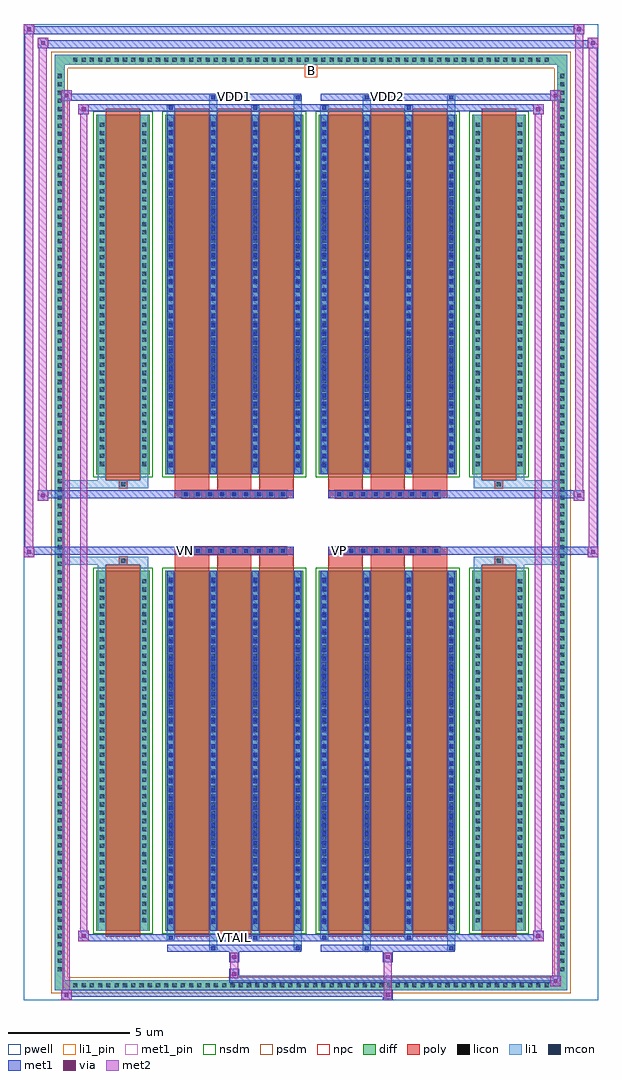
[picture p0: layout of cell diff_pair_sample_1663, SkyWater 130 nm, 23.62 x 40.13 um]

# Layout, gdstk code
import gdstk
lib = gdstk.Library(unit=1e-6, precision=5e-09)
def R(c, l, rs):  # rectangles x0, y0, x1, y1
    for r in rs: c.add(gdstk.rectangle(r[:2], r[2:], *l))
def A(c, l, x, y, w, h, nx, ny, dx, dy):  # array of equal rectangles
    R(c, l, [(x+i*dx, y+j*dy, x+i*dx+w, y+j*dy+h) for i in range(nx) for j in range(ny)])
def P(c, l, *ps):  # polygons
    for p in ps: c.add(gdstk.Polygon(p, *l))
pwell = (64, 44)
diff = (65, 20)
poly = (66, 20)
licon = (66, 44)
li1_pin = (67, 16)
li1 = (67, 20)
mcon = (67, 44)
met1_pin = (68, 16)
met1 = (68, 20)
via = (68, 44)
met2 = (69, 20)
nsdm = (93, 44)
psdm = (94, 20)
npc = (95, 20)

diff_pair_sample_1663 = lib.new_cell('diff_pair_sample_1663')
R(diff_pair_sample_1663, pwell, [(-11.81,-19.63,11.81,20.5), (-9.13,-17.82,-0.01,-0.8), (0.01,-17.82,9.13,-0.8), (-9.13,0.8,-0.01,17.82), (0.01,0.8,9.13,17.82)])
A(diff_pair_sample_1663, diff, -9.895, -19.23, 0.41, 0.41, 58, 2, 0.34, 38.05)
A(diff_pair_sample_1663, diff, -10.54, -18.565, 0.41, 0.41, 1, 109, 0, 0.34)
A(diff_pair_sample_1663, diff, 10.13, -18.565, 0.41, 0.41, 1, 109, 0, 0.34)
R(diff_pair_sample_1663, diff, [(-9.895,-19.23,9.895,-18.82), (-10.54,-18.565,-10.13,18.565), (10.13,-18.565,10.54,18.565), (-8.82,-16.775,-6.63,-1.985), (-5.99,-16.775,-0.32,-1.985), (0.32,-16.775,5.99,-1.985), (6.63,-16.775,8.82,-1.985), (-8.82,1.985,-6.63,16.775), (-5.99,1.985,-0.32,16.775), (0.32,1.985,5.99,16.775), (6.63,1.985,8.82,16.775), (-9.895,18.82,9.895,19.23)])
P(diff_pair_sample_1663, diff, [(10.54,19.23),(-10.54,19.23),(-10.54,-18.82),(-10.13,-18.82),(-10.13,18.82),(10.13,18.82),(10.13,-18.82),(-10.13,-18.82),(-10.54,-18.82),(-10.54,-19.23),(10.54,-19.23)])
A(diff_pair_sample_1663, poly, -5.6, -17.025, 1.41, 15.29, 3, 2, 1.74, 18.76)
A(diff_pair_sample_1663, poly, 0.71, -17.025, 1.41, 15.29, 3, 2, 1.74, 18.76)
A(diff_pair_sample_1663, poly, -5.6, -1.735, 1.41, 0.405, 3, 2, 1.74, 3.065)
A(diff_pair_sample_1663, poly, 0.71, -1.735, 1.41, 0.405, 3, 2, 1.74, 3.065)
A(diff_pair_sample_1663, poly, -5.32, -1.33, 0.33, 0.33, 9, 2, 0.5, 2.33)
A(diff_pair_sample_1663, poly, 0.99, -1.33, 0.33, 0.33, 9, 2, 0.5, 2.33)
R(diff_pair_sample_1663, poly, [(-8.43,-17.025,-7.02,-1.735), (7.02,-17.025,8.43,-1.735), (-7.89,-1.735,-7.56,-1.405), (-7.89,-1.735,-7.56,-1.405), (7.56,-1.735,7.89,-1.405), (7.56,-1.735,7.89,-1.405), (-5.6,-1.33,-0.71,-1), (0.71,-1.33,5.6,-1), (-5.6,1,-0.71,1.33), (0.71,1,5.6,1.33), (-7.89,1.405,-7.56,1.735), (-7.89,1.405,-7.56,1.735), (7.56,1.405,7.89,1.735), (7.56,1.405,7.89,1.735), (-8.43,1.735,-7.02,17.025), (7.02,1.735,8.43,17.025)])
A(diff_pair_sample_1663, licon, -9.775, -19.11, 0.17, 0.17, 58, 2, 0.34, 38.05)
A(diff_pair_sample_1663, licon, -10.42, -18.445, 0.17, 0.17, 1, 109, 0, 0.34)
A(diff_pair_sample_1663, licon, 10.25, -18.445, 0.17, 0.17, 1, 109, 0, 0.34)
A(diff_pair_sample_1663, licon, -8.68, -16.435, 0.17, 0.17, 1, 42, 0, 0.34)
A(diff_pair_sample_1663, licon, -6.94, -16.435, 0.17, 0.17, 1, 42, 0, 0.34)
A(diff_pair_sample_1663, licon, -5.85, -16.435, 0.17, 0.17, 4, 42, 1.74, 0.34)
A(diff_pair_sample_1663, licon, 0.46, -16.435, 0.17, 0.17, 4, 42, 1.74, 0.34)
A(diff_pair_sample_1663, licon, 6.77, -16.435, 0.17, 0.17, 1, 42, 0, 0.34)
A(diff_pair_sample_1663, licon, 8.51, -16.435, 0.17, 0.17, 1, 42, 0, 0.34)
A(diff_pair_sample_1663, licon, -5.24, -1.25, 0.17, 0.17, 9, 2, 0.5, 2.33)
A(diff_pair_sample_1663, licon, 1.07, -1.25, 0.17, 0.17, 9, 2, 0.5, 2.33)
A(diff_pair_sample_1663, licon, -8.68, 2.325, 0.17, 0.17, 1, 42, 0, 0.34)
A(diff_pair_sample_1663, licon, -6.94, 2.325, 0.17, 0.17, 1, 42, 0, 0.34)
A(diff_pair_sample_1663, licon, -5.85, 2.325, 0.17, 0.17, 4, 42, 1.74, 0.34)
A(diff_pair_sample_1663, licon, 0.46, 2.325, 0.17, 0.17, 4, 42, 1.74, 0.34)
A(diff_pair_sample_1663, licon, 6.77, 2.325, 0.17, 0.17, 1, 42, 0, 0.34)
A(diff_pair_sample_1663, licon, 8.51, 2.325, 0.17, 0.17, 1, 42, 0, 0.34)
R(diff_pair_sample_1663, licon, [(-7.81,-1.655,-7.64,-1.485), (7.64,-1.655,7.81,-1.485), (-7.81,1.485,-7.64,1.655), (7.64,1.485,7.81,1.655)])
R(diff_pair_sample_1663, li1_pin, [(-0.25,18.32,0.25,18.82)])
A(diff_pair_sample_1663, li1, -9.855, -19.19, 0.33, 0.33, 58, 2, 0.34, 38.05)
A(diff_pair_sample_1663, li1, -10.5, -18.525, 0.33, 0.33, 1, 109, 0, 0.34)
A(diff_pair_sample_1663, li1, 10.17, -18.525, 0.33, 0.33, 1, 109, 0, 0.34)
A(diff_pair_sample_1663, li1, -5.93, -16.775, 0.33, 14.79, 4, 2, 1.74, 18.76)
A(diff_pair_sample_1663, li1, 0.38, -16.775, 0.33, 14.79, 4, 2, 1.74, 18.76)
A(diff_pair_sample_1663, li1, -8.76, -16.515, 0.33, 0.33, 1, 42, 0, 0.34)
A(diff_pair_sample_1663, li1, -7.02, -16.515, 0.33, 0.33, 1, 42, 0, 0.34)
A(diff_pair_sample_1663, li1, -5.93, -16.515, 0.33, 0.33, 4, 42, 1.74, 0.34)
A(diff_pair_sample_1663, li1, 0.38, -16.515, 0.33, 0.33, 4, 42, 1.74, 0.34)
A(diff_pair_sample_1663, li1, 6.69, -16.515, 0.33, 0.33, 1, 42, 0, 0.34)
A(diff_pair_sample_1663, li1, 8.43, -16.515, 0.33, 0.33, 1, 42, 0, 0.34)
A(diff_pair_sample_1663, li1, -5.85, -16.485, 0.17, 0.17, 4, 40, 1.74, 0.36)
A(diff_pair_sample_1663, li1, -5.85, -16.485, 0.17, 14.21, 4, 2, 1.74, 18.76)
A(diff_pair_sample_1663, li1, 0.46, -16.485, 0.17, 0.17, 4, 40, 1.74, 0.36)
A(diff_pair_sample_1663, li1, 0.46, -16.485, 0.17, 14.21, 4, 2, 1.74, 18.76)
A(diff_pair_sample_1663, li1, -5.32, -1.33, 0.33, 0.33, 9, 2, 0.5, 2.33)
A(diff_pair_sample_1663, li1, 0.99, -1.33, 0.33, 0.33, 9, 2, 0.5, 2.33)
A(diff_pair_sample_1663, li1, -8.76, 2.245, 0.33, 0.33, 1, 42, 0, 0.34)
A(diff_pair_sample_1663, li1, -7.02, 2.245, 0.33, 0.33, 1, 42, 0, 0.34)
A(diff_pair_sample_1663, li1, -5.93, 2.245, 0.33, 0.33, 4, 42, 1.74, 0.34)
A(diff_pair_sample_1663, li1, 0.38, 2.245, 0.33, 0.33, 4, 42, 1.74, 0.34)
A(diff_pair_sample_1663, li1, 6.69, 2.245, 0.33, 0.33, 1, 42, 0, 0.34)
A(diff_pair_sample_1663, li1, 8.43, 2.245, 0.33, 0.33, 1, 42, 0, 0.34)
A(diff_pair_sample_1663, li1, -5.85, 2.275, 0.17, 0.17, 4, 40, 1.74, 0.36)
A(diff_pair_sample_1663, li1, 0.46, 2.275, 0.17, 0.17, 4, 40, 1.74, 0.36)
R(diff_pair_sample_1663, li1, [(-10.54,-19.23,-10.13,-18.82), (-10.54,-19.23,-10.13,-18.82), (-10.13,-19.23,10.13,-18.82), (10.13,-19.23,10.54,-18.82), (10.13,-19.23,10.54,-18.82), (-10.54,-18.82,-10.13,18.82), (10.13,-18.82,10.54,18.82), (-4.19,-17.58,-3.86,-16.775), (-4.11,-17.58,-3.94,-17.41), (-0.71,-17.58,-0.38,-16.775), (-0.63,-17.58,-0.46,-17.41), (2.12,-17.58,2.45,-16.775), (2.2,-17.58,2.37,-17.41), (5.6,-17.58,5.93,-16.775), (5.68,-17.58,5.85,-17.41), (-5.93,-17.15,-5.6,-16.775), (-5.85,-17.15,-5.68,-16.98), (-2.45,-17.15,-2.12,-16.775), (-2.37,-17.15,-2.2,-16.98), (0.38,-17.15,0.71,-16.775), (0.46,-17.15,0.63,-16.98), (3.86,-17.15,4.19,-16.775), (3.94,-17.15,4.11,-16.98), (-8.76,-16.775,-8.43,-1.985), (-7.02,-16.775,-6.69,-1.985), (6.69,-16.775,7.02,-1.985), (8.43,-16.775,8.76,-1.985), (-8.76,-1.985,-8.43,-1.405), (-7.02,-1.985,-6.69,-1.405), (6.69,-1.985,7.02,-1.405), (8.43,-1.985,8.76,-1.405), (-10.54,-1.735,-7.89,-1.405), (-8.76,-1.735,-7.89,-1.405), (-7.89,-1.735,-7.56,-1.405), (-7.56,-1.735,-6.69,-1.405), (6.69,-1.735,7.56,-1.405), (7.56,-1.735,7.89,-1.405), (7.56,-1.735,10.54,-1.405), (7.89,-1.735,8.76,-1.405), (-10.54,1.405,-7.89,1.735), (-8.76,1.405,-7.89,1.735), (-8.76,1.405,-8.43,1.985), (-7.89,1.405,-7.56,1.735), (-7.56,1.405,-6.69,1.735), (-7.02,1.405,-6.69,1.985), (6.69,1.405,7.56,1.735), (6.69,1.405,7.02,1.985), (7.56,1.405,7.89,1.735), (7.56,1.405,10.54,1.735), (7.89,1.405,8.76,1.735), (8.43,1.405,8.76,1.985), (-8.76,1.985,-8.43,16.775), (-7.02,1.985,-6.69,16.775), (6.69,1.985,7.02,16.775), (8.43,1.985,8.76,16.775), (-5.93,16.775,-5.6,17.15), (-4.19,16.775,-3.86,17.58), (-2.45,16.775,-2.12,17.15), (-0.71,16.775,-0.38,17.58), (0.38,16.775,0.71,17.15), (2.12,16.775,2.45,17.58), (3.86,16.775,4.19,17.15), (5.6,16.775,5.93,17.58), (-5.85,16.98,-5.68,17.15), (-2.37,16.98,-2.2,17.15), (0.46,16.98,0.63,17.15), (3.94,16.98,4.11,17.15), (-4.11,17.41,-3.94,17.58), (-0.63,17.41,-0.46,17.58), (2.2,17.41,2.37,17.58), (5.68,17.41,5.85,17.58), (-10.54,18.82,-10.13,19.23), (-10.54,18.82,-10.13,19.23), (-10.13,18.82,10.13,19.23), (10.13,18.82,10.54,19.23), (10.13,18.82,10.54,19.23)])
A(diff_pair_sample_1663, mcon, -5.85, -16.485, 0.17, 0.17, 4, 40, 1.74, 0.36)
A(diff_pair_sample_1663, mcon, 0.46, -16.485, 0.17, 0.17, 4, 40, 1.74, 0.36)
A(diff_pair_sample_1663, mcon, -5.24, -1.25, 0.17, 0.17, 9, 2, 0.5, 2.33)
A(diff_pair_sample_1663, mcon, 1.07, -1.25, 0.17, 0.17, 9, 2, 0.5, 2.33)
A(diff_pair_sample_1663, mcon, -5.85, 2.275, 0.17, 0.17, 4, 40, 1.74, 0.36)
A(diff_pair_sample_1663, mcon, 0.46, 2.275, 0.17, 0.17, 4, 40, 1.74, 0.36)
R(diff_pair_sample_1663, mcon, [(-4.11,-17.58,-3.94,-17.41), (-0.63,-17.58,-0.46,-17.41), (2.2,-17.58,2.37,-17.41), (5.68,-17.58,5.85,-17.41), (-5.85,-17.15,-5.68,-16.98), (-2.37,-17.15,-2.2,-16.98), (0.46,-17.15,0.63,-16.98), (3.94,-17.15,4.11,-16.98), (-5.85,16.98,-5.68,17.15), (-2.37,16.98,-2.2,17.15), (0.46,16.98,0.63,17.15), (3.94,16.98,4.11,17.15), (-4.11,17.41,-3.94,17.58), (-0.63,17.41,-0.46,17.58), (2.2,17.41,2.37,17.58), (5.68,17.41,5.85,17.58)])
R(diff_pair_sample_1663, met1_pin, [(-3.29,-17.19,-3.02,-16.92), (-5.29,-1.29,-5.02,-1.02), (1.02,-1.29,1.29,-1.02), (-3.29,17.37,-3.02,17.64), (3.02,17.37,3.29,17.64)])
A(diff_pair_sample_1663, met1, -5.91, -16.775, 0.29, 14.79, 4, 2, 1.74, 18.76)
A(diff_pair_sample_1663, met1, 0.4, -16.775, 0.29, 14.79, 4, 2, 1.74, 18.76)
A(diff_pair_sample_1663, met1, -5.91, -16.545, 0.29, 0.29, 4, 40, 1.74, 0.36)
A(diff_pair_sample_1663, met1, 0.4, -16.545, 0.29, 0.29, 4, 40, 1.74, 0.36)
A(diff_pair_sample_1663, met1, -5.3, -1.31, 0.29, 0.29, 9, 2, 0.5, 2.33)
A(diff_pair_sample_1663, met1, 1.01, -1.31, 0.29, 0.29, 9, 2, 0.5, 2.33)
A(diff_pair_sample_1663, met1, -5.91, 2.215, 0.29, 0.29, 4, 40, 1.74, 0.36)
A(diff_pair_sample_1663, met1, 0.4, 2.215, 0.29, 0.29, 4, 40, 1.74, 0.36)
R(diff_pair_sample_1663, met1, [(-10.27,-19.63,-9.84,-19.2), (2.94,-19.63,3.37,-19.2), (-10.27,-19.49,3.37,-19.2), (9.84,-19.06,10.27,-18.63), (-3.37,-18.92,10.27,-18.63), (-3.37,-18.78,-2.94,-18.35), (-3.37,-18.07,-2.94,-17.64), (2.94,-18.07,3.37,-17.64), (-5.91,-17.64,-0.4,-17.35), (-4.17,-17.64,-3.88,-17.35), (-0.69,-17.64,-0.4,-17.35), (0.4,-17.64,5.91,-17.35), (2.14,-17.64,2.43,-17.35), (5.62,-17.64,5.91,-17.35), (-9.56,-17.21,-9.13,-16.78), (-9.56,-17.21,-5.91,-16.92), (-5.91,-17.21,-5.62,-16.92), (-5.91,-17.21,-0.4,-16.92), (-2.43,-17.21,-2.14,-16.92), (-0.4,-17.21,0.4,-16.92), (0.4,-17.21,0.69,-16.92), (0.4,-17.21,5.91,-16.92), (3.88,-17.21,4.17,-16.92), (5.91,-17.21,9.56,-16.92), (9.13,-17.21,9.56,-16.78), (-11.81,-1.43,-11.38,-1), (11.38,-1.43,11.81,-1), (-11.81,-1.33,-0.71,-1), (-5.6,-1.33,-0.71,-1), (0.71,-1.33,5.6,-1), (0.71,-1.33,11.81,-1), (-11.24,0.9,-10.81,1.33), (10.81,0.9,11.24,1.33), (-11.24,1,-5.6,1.33), (-5.6,1,-0.71,1.33), (0.71,1,5.6,1.33), (5.6,1,11.24,1.33), (-9.56,16.78,-9.13,17.21), (9.13,16.78,9.56,17.21), (-9.56,16.92,-5.91,17.21), (-5.91,16.92,-5.62,17.21), (-5.91,16.92,-0.4,17.21), (-2.43,16.92,-2.14,17.21), (-0.4,16.92,0.4,17.21), (0.4,16.92,0.69,17.21), (0.4,16.92,5.91,17.21), (3.88,16.92,4.17,17.21), (5.91,16.92,9.56,17.21), (-10.27,17.35,-9.84,17.78), (-10.27,17.35,-5.91,17.64), (-5.91,17.35,-0.4,17.64), (-4.17,17.35,-3.88,17.64), (-0.69,17.35,-0.4,17.64), (0.4,17.35,5.91,17.64), (2.14,17.35,2.43,17.64), (5.62,17.35,5.91,17.64), (5.91,17.35,10.27,17.64), (9.84,17.35,10.27,17.78), (-11.24,19.5,-10.81,19.93), (-11.24,19.5,-9.13,19.83), (-9.13,19.5,9.13,19.83), (9.13,19.5,11.81,19.83), (11.38,19.5,11.81,19.93), (-11.81,20.07,-11.38,20.5), (-11.81,20.07,-9.13,20.4), (-9.13,20.07,9.13,20.4), (9.13,20.07,11.24,20.4), (10.81,20.07,11.24,20.5)])
R(diff_pair_sample_1663, via, [(-10.13,-19.49,-9.98,-19.34), (3.08,-19.49,3.23,-19.34), (9.98,-18.92,10.13,-18.77), (-3.23,-18.64,-3.08,-18.49), (-3.23,-17.93,-3.08,-17.78), (3.08,-17.93,3.23,-17.78), (-9.42,-17.07,-9.27,-16.92), (9.27,-17.07,9.42,-16.92), (-11.67,-1.29,-11.52,-1.14), (11.52,-1.29,11.67,-1.14), (-11.1,1.04,-10.95,1.19), (10.95,1.04,11.1,1.19), (-9.42,16.92,-9.27,17.07), (9.27,16.92,9.42,17.07), (-10.13,17.49,-9.98,17.64), (9.98,17.49,10.13,17.64), (-11.1,19.64,-10.95,19.79), (11.52,19.64,11.67,19.79), (-11.67,20.21,-11.52,20.36), (10.95,20.21,11.1,20.36)])
R(diff_pair_sample_1663, met2, [(-10.27,-19.63,-9.84,-19.2), (-10.2,-19.63,-9.91,17.78), (-9.91,-19.63,-9.84,-19.2), (-10.22,-19.58,-9.89,-19.25), (2.99,-19.58,3.32,-19.25), (2.99,-19.25,3.32,-18.02), (9.84,-19.06,10.27,-18.63), (9.91,-19.06,10.2,17.78), (10.2,-19.06,10.27,-18.63), (9.89,-19.01,10.22,-18.68), (-3.32,-18.73,-2.99,-18.4), (-3.32,-18.4,-2.99,-18.02), (-3.32,-18.02,-2.99,-17.69), (2.99,-18.02,3.32,-17.69), (-9.56,-17.21,-9.13,-16.78), (-9.49,-17.21,-9.2,17.21), (-9.2,-17.21,-9.13,-16.78), (9.13,-17.21,9.56,-16.78), (9.2,-17.21,9.49,17.21), (9.49,-17.21,9.56,-16.78), (-9.51,-17.16,-9.18,-16.83), (9.18,-17.16,9.51,-16.83), (-11.81,-1.43,-11.38,-1), (-11.76,-1.43,-11.43,20.5), (-11.43,-1.43,-11.38,-1), (11.38,-1.43,11.81,-1), (11.43,-1.43,11.76,19.93), (11.76,-1.43,11.81,-1), (-11.76,-1.38,-11.43,-1.05), (11.43,-1.38,11.76,-1.05), (-11.24,0.9,-10.81,1.33), (-11.19,0.9,-10.86,19.93), (-10.86,0.9,-10.81,1.33), (10.81,0.9,11.24,1.33), (10.86,0.9,11.19,20.5), (11.19,0.9,11.24,1.33), (-11.19,0.95,-10.86,1.28), (10.86,0.95,11.19,1.28), (-9.56,16.78,-9.13,17.21), (-9.2,16.78,-9.13,17.21), (9.13,16.78,9.56,17.21), (9.49,16.78,9.56,17.21), (-9.51,16.83,-9.18,17.16), (9.18,16.83,9.51,17.16), (-10.27,17.35,-9.84,17.78), (-9.91,17.35,-9.84,17.78), (9.84,17.35,10.27,17.78), (10.2,17.35,10.27,17.78), (-10.22,17.4,-9.89,17.73), (9.89,17.4,10.22,17.73), (-11.24,19.5,-10.81,19.93), (-10.86,19.5,-10.81,19.93), (11.38,19.5,11.81,19.93), (11.76,19.5,11.81,19.93), (-11.19,19.55,-10.86,19.88), (11.43,19.55,11.76,19.88), (-11.81,20.07,-11.38,20.5), (-11.43,20.07,-11.38,20.5), (10.81,20.07,11.24,20.5), (11.19,20.07,11.24,20.5), (-11.76,20.12,-11.43,20.45), (10.86,20.12,11.19,20.45)])
R(diff_pair_sample_1663, nsdm, [(-8.95,-16.905,-6.5,-1.855), (-6.12,-16.905,-0.19,-1.855), (0.19,-16.905,6.12,-1.855), (6.5,-16.905,8.95,-1.855), (-8.95,1.855,-6.5,16.905), (-6.12,1.855,-0.19,16.905), (0.19,1.855,6.12,16.905), (6.5,1.855,8.95,16.905)])
P(diff_pair_sample_1663, psdm, [(10.67,19.36),(-10.67,19.36),(-10.67,-18.69),(-10,-18.69),(-10,18.69),(10,18.69),(10,-18.69),(-10,-18.69),(-10.67,-18.69),(-10.67,-19.36),(10.67,-19.36)])
A(diff_pair_sample_1663, npc, -5.34, -1.35, 0.37, 0.37, 9, 2, 0.5, 2.33)
A(diff_pair_sample_1663, npc, 0.97, -1.35, 0.37, 0.37, 9, 2, 0.5, 2.33)
R(diff_pair_sample_1663, npc, [(-7.91,-1.755,-7.54,-1.385), (7.54,-1.755,7.91,-1.385), (-5.34,-1.35,-4.47,-0.98), (-5.34,-1.35,-4.47,-0.98), (-4.84,-1.35,-3.97,-0.98), (-4.84,-1.35,-3.97,-0.98), (-4.34,-1.35,-3.47,-0.98), (-4.34,-1.35,-3.47,-0.98), (-3.84,-1.35,-2.97,-0.98), (-3.84,-1.35,-2.97,-0.98), (-3.34,-1.35,-2.47,-0.98), (-3.34,-1.35,-2.47,-0.98), (-2.84,-1.35,-1.97,-0.98), (-2.84,-1.35,-1.97,-0.98), (-2.34,-1.35,-1.47,-0.98), (-2.34,-1.35,-1.47,-0.98), (-1.84,-1.35,-0.97,-0.98), (-1.84,-1.35,-0.97,-0.98), (0.97,-1.35,1.84,-0.98), (0.97,-1.35,1.84,-0.98), (1.47,-1.35,2.34,-0.98), (1.47,-1.35,2.34,-0.98), (1.97,-1.35,2.84,-0.98), (1.97,-1.35,2.84,-0.98), (2.47,-1.35,3.34,-0.98), (2.47,-1.35,3.34,-0.98), (2.97,-1.35,3.84,-0.98), (2.97,-1.35,3.84,-0.98), (3.47,-1.35,4.34,-0.98), (3.47,-1.35,4.34,-0.98), (3.97,-1.35,4.84,-0.98), (3.97,-1.35,4.84,-0.98), (4.47,-1.35,5.34,-0.98), (4.47,-1.35,5.34,-0.98), (-5.34,0.98,-4.47,1.35), (-5.34,0.98,-4.47,1.35), (-4.84,0.98,-3.97,1.35), (-4.84,0.98,-3.97,1.35), (-4.34,0.98,-3.47,1.35), (-4.34,0.98,-3.47,1.35), (-3.84,0.98,-2.97,1.35), (-3.84,0.98,-2.97,1.35), (-3.34,0.98,-2.47,1.35), (-3.34,0.98,-2.47,1.35), (-2.84,0.98,-1.97,1.35), (-2.84,0.98,-1.97,1.35), (-2.34,0.98,-1.47,1.35), (-2.34,0.98,-1.47,1.35), (-1.84,0.98,-0.97,1.35), (-1.84,0.98,-0.97,1.35), (0.97,0.98,1.84,1.35), (0.97,0.98,1.84,1.35), (1.47,0.98,2.34,1.35), (1.47,0.98,2.34,1.35), (1.97,0.98,2.84,1.35), (1.97,0.98,2.84,1.35), (2.47,0.98,3.34,1.35), (2.47,0.98,3.34,1.35), (2.97,0.98,3.84,1.35), (2.97,0.98,3.84,1.35), (3.47,0.98,4.34,1.35), (3.47,0.98,4.34,1.35), (3.97,0.98,4.84,1.35), (3.97,0.98,4.84,1.35), (4.47,0.98,5.34,1.35), (4.47,0.98,5.34,1.35), (-7.91,1.385,-7.54,1.755), (7.54,1.385,7.91,1.755)])
diff_pair_sample_1663.add(gdstk.Label('VTAIL', (-3.155,-17.055), layer=68, texttype=5))
diff_pair_sample_1663.add(gdstk.Label('VN', (-5.155,-1.155), layer=68, texttype=5))
diff_pair_sample_1663.add(gdstk.Label('VP', (1.155,-1.155), layer=68, texttype=5))
diff_pair_sample_1663.add(gdstk.Label('B', (0,18.57), layer=67, texttype=5))
diff_pair_sample_1663.add(gdstk.Label('VDD2', (3.155,17.505), layer=68, texttype=5))
diff_pair_sample_1663.add(gdstk.Label('VDD1', (-3.155,17.505), layer=68, texttype=5))

lib.write_gds('diff_pair_sample_1663.gds')
